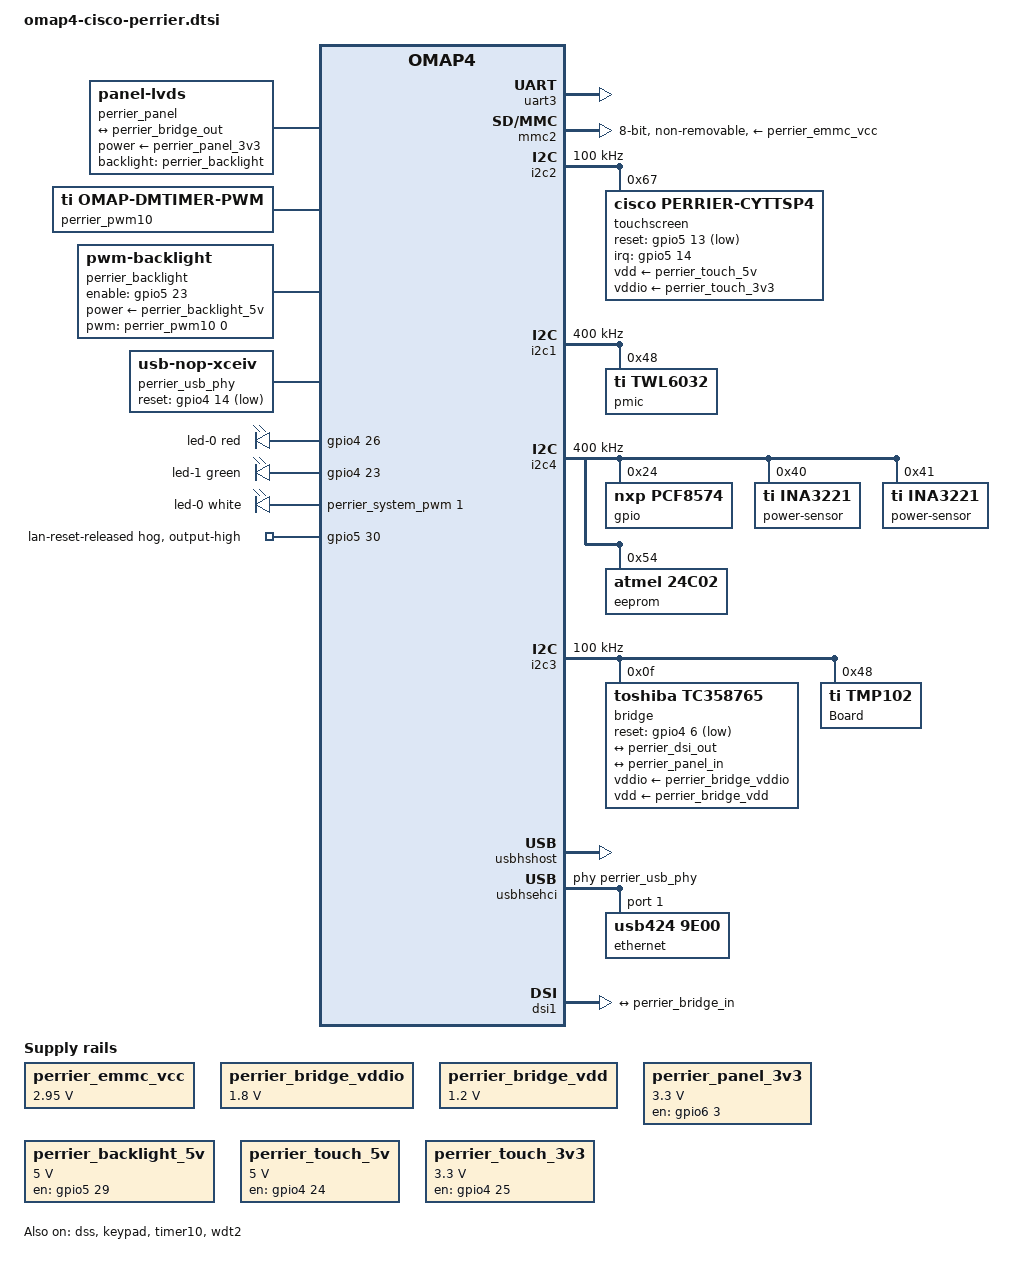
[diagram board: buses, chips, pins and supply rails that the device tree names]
// SPDX-License-Identifier: GPL-2.0-only
// Cisco Touch 10 / Perrier board wiring on the upstream OMAP4460 buses.
#include <dt-bindings/gpio/gpio.h>
#include <dt-bindings/input/input.h>
#include <dt-bindings/input/linux-event-codes.h>
#include <dt-bindings/leds/common.h>

/ {
	aliases {
		serial0 = &uart3;
		mmc0 = &mmc2;
		i2c0 = &i2c1;
		i2c1 = &i2c2;
		i2c2 = &i2c3;
		i2c3 = &i2c4;
		/delete-property/ serial1;
		/delete-property/ serial2;
		/delete-property/ serial3;
		/delete-property/ mmc1;
		/delete-property/ mmc2;
		/delete-property/ mmc3;
		/delete-property/ mmc4;
	};

	perrier_emmc_vcc: regulator-emmc-vcc {
		compatible = "regulator-fixed";
		regulator-name = "perrier-emmc-vcc";
		regulator-min-microvolt = <2950000>;
		regulator-max-microvolt = <2950000>;
		regulator-always-on;
	};

	perrier_bridge_vddio: regulator-bridge-vddio {
		compatible = "regulator-fixed";
		regulator-name = "perrier-bridge-vddio-logic-only";
		regulator-min-microvolt = <1800000>;
		regulator-max-microvolt = <1800000>;
		regulator-always-on;
	};

	perrier_bridge_vdd: regulator-bridge-vdd {
		compatible = "regulator-fixed";
		regulator-name = "perrier-bridge-vdd-logic-only";
		regulator-min-microvolt = <1200000>;
		regulator-max-microvolt = <1200000>;
		regulator-always-on;
	};

	perrier_panel_3v3: regulator-panel-3v3 {
		compatible = "regulator-fixed";
		regulator-name = "perrier-panel-3v3";
		regulator-min-microvolt = <3300000>;
		regulator-max-microvolt = <3300000>;
		gpio = <&gpio6 3 GPIO_ACTIVE_HIGH>;
		enable-active-high;
	};

	perrier_panel: panel {
		backlight = <&perrier_backlight>;
		compatible = "panel-lvds";
		data-mapping = "vesa-24";
		power-supply = <&perrier_panel_3v3>;
		// Approximate mechanical size; only timing and mapping are electrical.
		width-mm = <217>;
		height-mm = <136>;
		panel-timing {
			// Measured stock DISPC pck is 71,073,662 Hz; DRM uses kHz.
			clock-frequency = <71074000>;
			hactive = <1280>;
			hfront-porch = <78>;
			hback-porch = <79>;
			hsync-len = <3>;
			vactive = <800>;
			vfront-porch = <12>;
			vback-porch = <10>;
			vsync-len = <1>;
		};
		port {
			perrier_panel_in: endpoint {
				remote-endpoint = <&perrier_bridge_out>;
			};
		};
	};

	perrier_pwm10: pwm-backlight-timer {
		compatible = "ti,omap-dmtimer-pwm";
		ti,timers = <&timer10>;
		#pwm-cells = <3>;
	};

	perrier_backlight: backlight {
		compatible = "pwm-backlight";
		pinctrl-names = "default";
		pinctrl-0 = <&perrier_backlight_pwm_pin &perrier_backlight_enable_pin>;
		power-supply = <&perrier_backlight_5v>;
		enable-gpios = <&gpio5 23 GPIO_ACTIVE_HIGH>;
		pwms = <&perrier_pwm10 0 50000 0>;
		brightness-levels = <0 64 128 192 255>;
		default-brightness-level = <4>;
	};

	perrier_usb_phy: usb-phy {
		compatible = "usb-nop-xceiv";
		#phy-cells = <0>;
		pinctrl-names = "default";
		pinctrl-0 = <&perrier_ethernet_phy_pins>;
		reset-gpios = <&gpio4 14 GPIO_ACTIVE_LOW>; // GPIO110, stock high = released
		clocks = <&auxclk1_ck>;
		clock-names = "main_clk";
		clock-frequency = <19200000>;
		// Select the same fixed 38.4 MHz parent as stock, then divide by 2.
		// No shared DPLL is reprogrammed.
		assigned-clocks = <&auxclk1_src_ck>;
		assigned-clock-parents = <&sys_clkin_ck>;
	};

	perrier_backlight_5v: regulator-backlight-5v {
		compatible = "regulator-fixed";
		regulator-name = "perrier-backlight-5v";
		regulator-min-microvolt = <5000000>;
		regulator-max-microvolt = <5000000>;
		pinctrl-names = "default";
		pinctrl-0 = <&perrier_backlight_5v_pin>;
		gpio = <&gpio5 29 GPIO_ACTIVE_HIGH>; // GPIO157 lcd_5v_enable
		enable-active-high;
		// Stock enables 5 V and waits 11 ms before programming timer10.
		startup-delay-us = <11000>;
	};

	perrier_touch_5v: regulator-touch-5v {
		compatible = "regulator-fixed";
		regulator-name = "perrier-touch-5v";
		regulator-min-microvolt = <5000000>;
		regulator-max-microvolt = <5000000>;
		pinctrl-names = "default";
		pinctrl-0 = <&perrier_touch_5v_pin>;
		gpio = <&gpio4 24 GPIO_ACTIVE_HIGH>; // stock tp_5v_en GPIO120
		enable-active-high;
	};

	perrier_touch_3v3: regulator-touch-3v3 {
		compatible = "regulator-fixed";
		regulator-name = "perrier-touch-3v3";
		regulator-min-microvolt = <3300000>;
		regulator-max-microvolt = <3300000>;
		pinctrl-names = "default";
		pinctrl-0 = <&perrier_touch_3v3_pin>;
		gpio = <&gpio4 25 GPIO_ACTIVE_HIGH>; // stock tp_3v3_en GPIO121
		enable-active-high;
	};

	leds {
		compatible = "gpio-leds";
		pinctrl-names = "default";
		pinctrl-0 = <&perrier_mute_led_pins>;

		led-0 {
			color = <LED_COLOR_ID_RED>;
			function = LED_FUNCTION_MICMUTE;
			gpios = <&gpio4 26 GPIO_ACTIVE_HIGH>;
			default-state = "off";
		};

		led-1 {
			color = <LED_COLOR_ID_GREEN>;
			function = LED_FUNCTION_MICMUTE;
			gpios = <&gpio4 23 GPIO_ACTIVE_HIGH>;
			default-state = "off";
		};
	};

	led-controller {
		compatible = "pwm-leds";
		led-0 {
			color = <LED_COLOR_ID_WHITE>;
			function = LED_FUNCTION_STATUS;
			pwms = <&perrier_system_pwm 1 3906250>;
			max-brightness = <255>;
			default-state = "off";
		};
	};

};

&uart3 {
	status = "okay";
};

&mmc2 {
	status = "okay";
	non-removable;
	ti,non-removable;
	bus-width = <8>;
	max-frequency = <26000000>;
	vmmc-supply = <&perrier_emmc_vcc>;
};

&i2c2 {
	status = "okay";
	clock-frequency = <100000>;
};

&i2c1 {
	status = "okay";
	clock-frequency = <400000>;
	pinctrl-names = "default";
	pinctrl-0 = <&perrier_pmic_i2c_pins>;

	pmic@48 {
		compatible = "ti,twl6032";
		reg = <0x48>;
		interrupts = <GIC_SPI 7 IRQ_TYPE_LEVEL_HIGH>;
		interrupt-controller;
		#interrupt-cells = <1>;
		#address-cells = <0>;
		#clock-cells = <1>;

		rtc {
			compatible = "ti,twl4030-rtc";
			interrupts = <11>;
		};

		// Retain bootloader clocks and rails. Only the ordinary PWM child
		// is described; no regulators, power controller or analog blocks.
		perrier_system_pwm: pwm {
			compatible = "ti,twl6030-pwm";
			#pwm-cells = <2>;
		};
	};
};

&i2c4 {
	status = "okay";
	clock-frequency = <400000>;
	pinctrl-names = "default";
	pinctrl-0 = <&perrier_monitor_i2c_pins>;

	gpio@24 {
		compatible = "nxp,pcf8574";
		reg = <0x24>;
		retain-state-shutdown;
		gpio-controller;
		#gpio-cells = <2>;
	};

	power-sensor@40 {
		compatible = "ti,ina3221";
		reg = <0x40>;
		#address-cells = <1>;
		#size-cells = <0>;
		input@0 {
			reg = <0>;
			shunt-resistor-micro-ohms = <10000>;
			ti,summation-disable;
		};
		input@1 {
			reg = <1>;
			shunt-resistor-micro-ohms = <10000>;
			ti,summation-disable;
		};
		input@2 {
			reg = <2>;
			shunt-resistor-micro-ohms = <10000>;
			ti,summation-disable;
		};
	};

	power-sensor@41 {
		compatible = "ti,ina3221";
		reg = <0x41>;
		#address-cells = <1>;
		#size-cells = <0>;
		input@0 {
			reg = <0>;
			shunt-resistor-micro-ohms = <10000>;
			ti,summation-disable;
		};
		input@1 {
			reg = <1>;
			shunt-resistor-micro-ohms = <10000>;
			ti,summation-disable;
		};
		input@2 {
			reg = <2>;
			shunt-resistor-micro-ohms = <10000>;
			ti,summation-disable;
		};
	};

	eeprom@54 {
		compatible = "atmel,24c02";
		reg = <0x54>;
		read-only;
	};
};

&i2c3 {
	status = "okay";
	clock-frequency = <100000>;
};

&i2c3 {
	bridge@f {
		compatible = "toshiba,tc358765";
		reg = <0x0f>;
		vddio-supply = <&perrier_bridge_vddio>;
		vdd-supply = <&perrier_bridge_vdd>;
		// Stock GPIO102 is high in operation, low while reset is asserted.
		reset-gpios = <&gpio4 6 GPIO_ACTIVE_LOW>;
		ports {
			#address-cells = <1>;
			#size-cells = <0>;
			port@0 {
				reg = <0>;
				perrier_bridge_in: endpoint {
					remote-endpoint = <&perrier_dsi_out>;
					data-lanes = <1 2 3 4>;
				};
			};
			port@1 {
				reg = <1>;
				perrier_bridge_out: endpoint {
					remote-endpoint = <&perrier_panel_in>;
				};
			};
		};
	};
};

&i2c2 {
	pinctrl-names = "default";
	pinctrl-0 = <&perrier_touch_i2c_pins>;
	touchscreen@67 {
		compatible = "cisco,perrier-cyttsp4";
		pinctrl-names = "default";
		pinctrl-0 = <&perrier_touch_pins>;
		reset-gpios = <&gpio5 13 GPIO_ACTIVE_LOW>;
		vdd-supply = <&perrier_touch_5v>;
		vddio-supply = <&perrier_touch_3v3>;
		reg = <0x67>;
		interrupt-parent = <&gpio5>;
		interrupts = <14 IRQ_TYPE_EDGE_FALLING>;
		touchscreen-size-x = <1280>;
		touchscreen-size-y = <800>;
	};
};

&i2c3 {
	// Stock firmware binds tmp102 at I2C3 address 0x48. No supply, alert
	// GPIO, or pinmux is specified; only its volatile conversion setup is
	// changed by the mainline hwmon driver.
	temperature-sensor@48 {
		compatible = "ti,tmp102";
		reg = <0x48>;
		label = "Board";
	};
};

&usbhshost {
	status = "okay";
	num-ports = <2>;
	port1-mode = "ehci-phy";
	clocks = <&l3_init_clkctrl OMAP4_USB_HOST_HS_CLKCTRL 24>,
		<&l3_init_clkctrl OMAP4_USB_HOST_HS_CLKCTRL 25>,
		<&xclk60mhsp1_ck>, <&xclk60mhsp2_ck>,
		<&init_60m_fclk>,
		<&l3_init_clkctrl OMAP4_USB_HOST_HS_CLKCTRL 8>,
		<&l3_init_clkctrl OMAP4_USB_HOST_HS_CLKCTRL 9>,
		<&l3_init_clkctrl OMAP4_USB_HOST_HS_CLKCTRL 13>,
		<&l3_init_clkctrl OMAP4_USB_HOST_HS_CLKCTRL 14>,
		<&l3_init_clkctrl OMAP4_USB_HOST_HS_CLKCTRL 11>,
		<&l3_init_clkctrl OMAP4_USB_HOST_HS_CLKCTRL 12>;
	clock-names = "utmi_p1_gfclk", "utmi_p2_gfclk",
		"refclk_60m_ext_p1", "refclk_60m_ext_p2",
		"refclk_60m_int",
		"usb_host_hs_utmi_p1_clk", "usb_host_hs_utmi_p2_clk",
		"usb_host_hs_hsic480m_p1_clk", "usb_host_hs_hsic480m_p2_clk",
		"usb_host_hs_hsic60m_p1_clk", "usb_host_hs_hsic60m_p2_clk";
};

&usbhsehci {
	status = "okay";
	phys = <&perrier_usb_phy>;
	#address-cells = <1>;
	#size-cells = <0>;
	ethernet@1 {
		compatible = "usb424,9e00";
		reg = <1>;
		local-mac-address = [24 16 9d b6 77 bb];
	};
};

&usbhsohci {
	status = "disabled";
};

&dss {
	status = "okay";
};

&dsi1 {
	status = "okay";
	port {
		perrier_dsi_out: endpoint {
			remote-endpoint = <&perrier_bridge_in>;
			// Stock DSI_COMPLEXIO_CFG1 = 0x2a054321.
			lanes = <0 1 2 3 4 5 6 7 8 9>;
		};
	};
};

&keypad {
	status = "okay";
	keypad,num-rows = <2>;
	keypad,num-columns = <6>;
	linux,keymap = <MATRIX_KEY(0, 4, KEY_VOLUMEDOWN)
		MATRIX_KEY(1, 4, KEY_MUTE)
		MATRIX_KEY(1, 5, KEY_VOLUMEUP)>;
};

&timer10 {
	status = "okay";
};

&wdt2 {
	status = "okay";
	timeout-sec = <120>;
};

&gpio5 {
	pinctrl-names = "default";
	pinctrl-0 = <&perrier_lan_reset_pin>;
	lan-reset-hog {
		gpio-hog;
		gpios = <30 GPIO_ACTIVE_HIGH>; // GPIO158, stock output high
		output-high;
		line-name = "lan-reset-released";
	};
};

&omap4_pmx_core {
	perrier_pmic_i2c_pins: pmic-i2c-pins {
		pinctrl-single,pins = <
			OMAP4_IOPAD(0x122, 0x0118)
			OMAP4_IOPAD(0x124, 0x0118)
		>;
	};
	perrier_monitor_i2c_pins: monitor-i2c-pins {
		pinctrl-single,pins = <
			OMAP4_IOPAD(0x12e, 0x0100)
			OMAP4_IOPAD(0x130, 0x0100)
		>;
	};
	perrier_ethernet_phy_pins: ethernet-phy-pins {
		pinctrl-single,pins = <
		// ULPI CLK, input/pulldown, mode 4
			OMAP4_IOPAD(0x0c2, 0x010c)
			OMAP4_IOPAD(0x0c4, 0x0004) // ULPI STP, output, mode 4
			OMAP4_IOPAD(0x0c6, 0x010c) // ULPI DIR
			OMAP4_IOPAD(0x0c8, 0x010c) // ULPI NXT
			OMAP4_IOPAD(0x0ca, 0x010c) // ULPI DAT0
			OMAP4_IOPAD(0x0cc, 0x010c) // ULPI DAT1
			OMAP4_IOPAD(0x0ce, 0x010c) // ULPI DAT2
			OMAP4_IOPAD(0x0d0, 0x010c) // ULPI DAT3
			OMAP4_IOPAD(0x0d2, 0x010c) // ULPI DAT4
			OMAP4_IOPAD(0x0d4, 0x010c) // ULPI DAT5
			OMAP4_IOPAD(0x0d6, 0x010c) // ULPI DAT6
			OMAP4_IOPAD(0x0d8, 0x010c) // ULPI DAT7
		// GPIO110 USB PHY reset, output mode 3
			OMAP4_IOPAD(0x0f6, 0x0003)
		// FREF_CLK1_OUT, stock mode 0/pullup
			OMAP4_IOPAD(0x19a, 0x0118)
		>;
	};
	perrier_lan_reset_pin: lan-reset-pins {
		pinctrl-single,pins = <OMAP4_IOPAD(0x162, 0x0003)>;
	};
	perrier_backlight_5v_pin: backlight-5v-pin {
		pinctrl-single,pins = <OMAP4_IOPAD(0x160, 0x0003)>;
	};
	perrier_backlight_pwm_pin: backlight-pwm-pin {
		pinctrl-single,pins = <OMAP4_IOPAD(0x1d2, 0x0001)>;
	};
	perrier_backlight_enable_pin: backlight-enable-pin {
		// Stock idefix_backlight_set_pad uses GPIO151, MCSPI4_CLK at 0x154.
		// 0x156 in the historical inspector was MCSPI4_SIMO, a different pad.
		pinctrl-single,pins = <OMAP4_IOPAD(0x154, 0x0003)>;
	};
	perrier_touch_5v_pin: touch-5v-pin {
		pinctrl-single,pins = <OMAP4_IOPAD(0x112, 0x0003)>;
	};
	perrier_mute_led_pins: mute-led-pins {
		pinctrl-single,pins = <
			OMAP4_IOPAD(0x110, 0x000b) // GPIO119, stock output/pull-down
			OMAP4_IOPAD(0x116, 0x000b) // GPIO122, stock output/pull-down
		>;
	};
	perrier_touch_3v3_pin: touch-3v3-pin {
		pinctrl-single,pins = <OMAP4_IOPAD(0x114, 0x0003)>;
	};
	perrier_touch_pins: touch-pins {
		pinctrl-single,pins = <
			OMAP4_IOPAD(0x140, 0x0003) // GPIO141 reset output
			OMAP4_IOPAD(0x142, 0x731b) // GPIO142 IRQ input/pull-up/off wake
		>;
	};
	perrier_touch_i2c_pins: touch-i2c-pins {
		pinctrl-single,pins = <
			OMAP4_IOPAD(0x126, 0x0100)
			OMAP4_IOPAD(0x128, 0x0100)
		>;
	};
};
